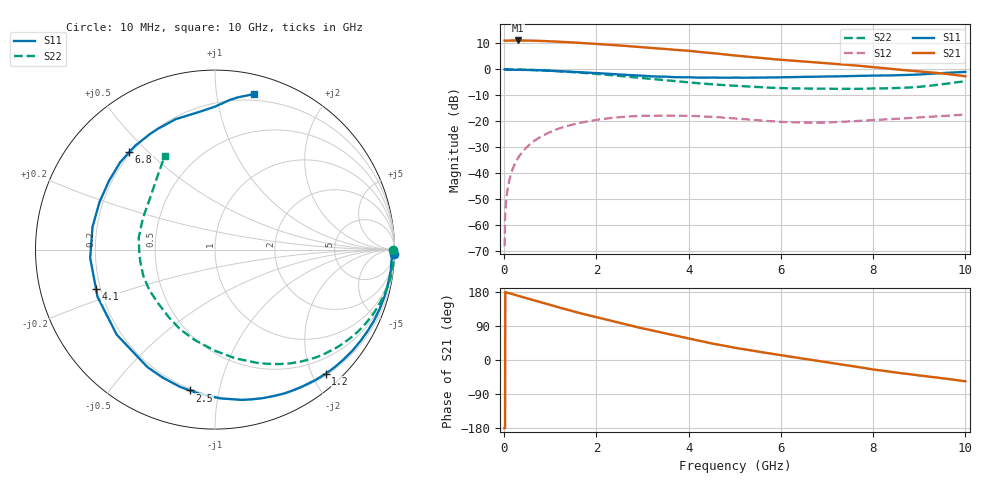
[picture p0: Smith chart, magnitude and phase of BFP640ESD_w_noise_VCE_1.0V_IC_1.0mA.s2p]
! Infineon Technologies  Discrete & RF Semiconductors
! BFP640ESD
! VCE =  1.0 V,  IC =  1.0 mA
! Common Emitter S-Parameters:  Jan 2016
# GHz  S  MA  R  50
!  f  S11  S21  S12  S22
! GHz  MAG  ANG  MAG  ANG  MAG  ANG  MAG  ANG
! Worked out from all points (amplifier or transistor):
!   233 points, 10 MHz to 10 GHz, reference 50 ohm
!   highest |S21| = 11.1 dB at 300 MHz (marker M1)
!   |S21| within 3 dB of that: start of sweep to 3.263 GHz
!   unconditionally stable (mu >= 1): 5.561 GHz to 9.502 GHz
!   at 200 MHz: K = 0.01, MSG = 24.3 dB, |S12| = -37.6 dB
!   at 1.74 GHz: K = 0.19, MSG = 15.1 dB, |S12| = -20.2 dB
!   at 10 GHz: K = 0.73, MSG = 7.4 dB, |S12| = -17.4 dB
!   lowest NFmin = 0.63 dB at 450 MHz
!   S11 on the Smith chart (normalised r, x): 10 MHz: 6, -76; 1.2 GHz: 0.23, -2.21; 2.5 GHz: 0.19, -0.82; 4.1 GHz: 0.18, -0.16; 6.8 GHz: 0.19, +0.44; 10 GHz: 0.15, +1.27
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0.01  0.9981 -1.5  3.572 -180.0  0.0004 92.9  0.9935 0.0
0.015  0.9928 -1.3  3.558 -180.0  0.0009 89.2  0.9967 -0.2
0.02  0.9876 -1.1  3.545 -179.9  0.0014 88.2  1 -0.4
0.045  0.9872 -2.1  3.556 178.4  0.0031 87.9  0.9989 -1.2
0.065  0.9865 -2.8  3.565 177.7  0.0044 87.4  0.9985 -1.7
0.16  0.9867 -6.4  3.588 174.6  0.0106 85.4  0.9969 -4.1
0.3  0.9823 -12.0  3.591 169.6  0.0197 81.8  0.993 -7.7
0.7  0.9637 -28.1  3.545 155.5  0.0451 70.4  0.9675 -17.6
1.2  0.9266 -48.3  3.399 138.4  0.0736 56.8  0.9184 -29.8
1.68  0.8803 -67.5  3.213 122.6  0.0953 44.3  0.8593 -40.7
2.2  0.8294 -88.0  3 106.7  0.113 32.1  0.7907 -51.8
2.5  0.797 -100.1  2.875 97.8  0.1204 25.3  0.7473 -58.3
2.96  0.7571 -118.3  2.681 84.5  0.1274 15.4  0.6832 -68.0
3.4  0.7237 -135.2  2.493 72.7  0.1291 7.2  0.6271 -77.1
4.1  0.6983 -161.6  2.224 54.2  0.1272 -3.8  0.5518 -92.5
4.5  0.6969 -176.1  2.064 43.6  0.123 -9.7  0.5174 -102.3
5.1  0.6921 167.1  1.808 30.3  0.1121 -14.9  0.478 -115.6
6  0.704 147.0  1.529 12.6  0.0977 -16.6  0.4365 -135.9
6.8  0.7228 131.4  1.349 -2.2  0.0949 -13.0  0.4251 -155.4
7.6  0.7447 115.2  1.192 -17.2  0.1011 -10.0  0.4222 -176.8
8.4  0.7655 99.4  1.018 -31.5  0.1107 -10.6  0.4343 159.5
10  0.8938 75.9  0.737 -56.3  0.1353 -16.5  0.5937 118.0
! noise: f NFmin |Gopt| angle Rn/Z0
0.45  0.63  0.83  11  0.4
0.9  0.7  0.75  24  0.39
1.9  0.92  0.61  55  0.31
2.4  1.1  0.54  74  0.29
5.5  1.99  0.47  -156  0.25
